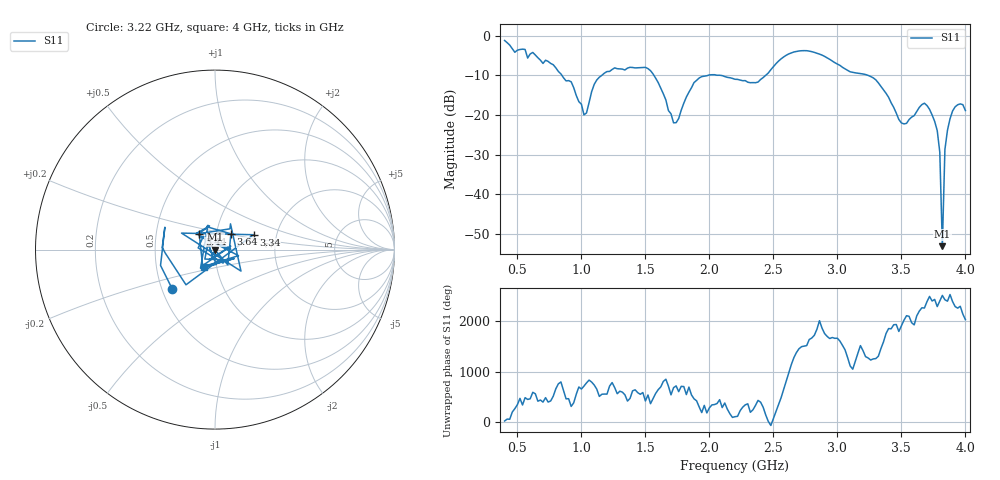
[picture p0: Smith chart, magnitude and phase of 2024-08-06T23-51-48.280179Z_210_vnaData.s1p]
!Created with skrf (http://scikit-rf.org).
# Hz S RI R 50.0
!freq ReS11 ImS11
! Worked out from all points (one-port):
!   181 points, 400 MHz to 4 GHz, reference 50 ohm
!   lowest |S11| = -53.1 dB at 3.82 GHz (marker M1), VSWR 1.00, Z = 50.2 - j0.0198 ohm
!   |S11| at or under -10 dB: 1.567 GHz to 1.989 GHz (422.1 MHz wide, 23.7 % of centre); 2.087 GHz to 2.439 GHz (351.9 MHz wide, 15.5 % of centre); 3.239 GHz to end of sweep (the widest 3 of 4)
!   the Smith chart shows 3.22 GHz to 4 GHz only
!   S11 on the Smith chart (normalised r, x): 3.22 GHz: 0.57, -0.28; 3.34 GHz: 1.52, +0.27; 3.44 GHz: 0.83, +0.15; 3.64 GHz: 1.17, +0.21; 4 GHz: 0.86, -0.17
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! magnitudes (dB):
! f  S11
! 400 MHz  -1.2
! 860 MHz  -10.6
! 920 MHz  -11.6
! 1.02 GHz  -20.0
! 1.12 GHz  -11.2
! 1.3 GHz  -8.4
! 1.54 GHz  -8.8
! 1.72 GHz  -22.0
! 1.76 GHz  -20.9
! 1.92 GHz  -10.7
! 2.2 GHz  -11.0
! 2.38 GHz  -11.7
! 2.66 GHz  -4.1
! 3.1 GHz  -9.1
! 3.22 GHz  -9.8
! 3.34 GHz  -12.8
! 3.44 GHz  -18.1
! 3.5 GHz  -22.0
! 3.56 GHz  -21.1
! 3.64 GHz  -18.1
! 3.7 GHz  -17.6
! 3.78 GHz  -23.9
! 3.8 GHz  -29.4
! 3.82 GHz  -53.1
! 3.84 GHz  -28.7
! 3.86 GHz  -23.8
! 3.92 GHz  -17.9
! 4 GHz  -18.9
